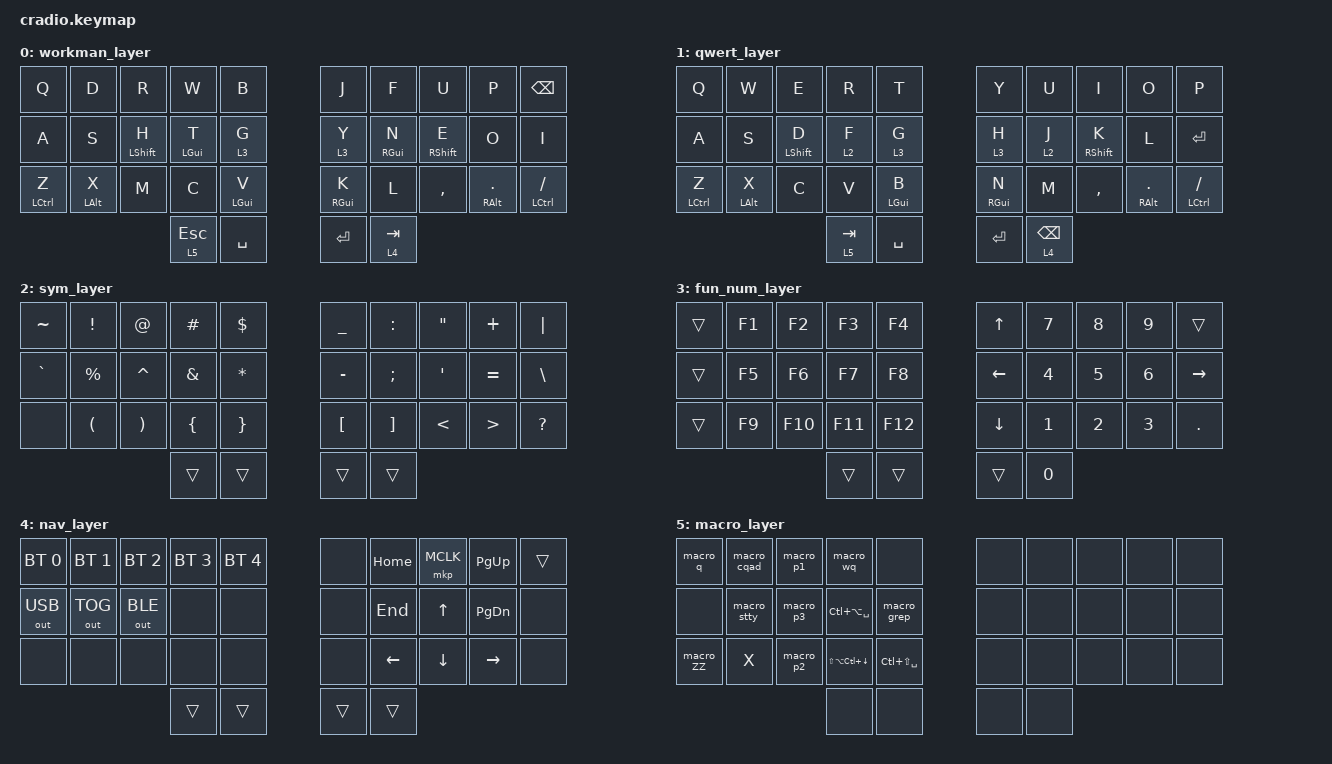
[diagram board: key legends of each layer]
// Copyright (c) 2022 The ZMK Contributors
// SPDX-License-Identifier: MIT
//#include <behaviors/num_word.dtsi>

#include <behaviors.dtsi>
#include <dt-bindings/zmk/bt.h>
#include <dt-bindings/zmk/keys.h>
#include <dt-bindings/zmk/outputs.h>
#include <dt-bindings/zmk/pointing.h>

/ {
    behaviors {
        hml: home_row_mod_left {
            compatible = "zmk,behavior-hold-tap";
            #binding-cells = <2>;
            flavor = "balanced";
            require-prior-idle-ms = <125>;
            tapping-term-ms = <190>;
            quick-tap-ms = <150>;
            bindings = <&kp>, <&kp>;

            hold-trigger-key-positions = <5 6 7 8 9 15 16 17 18 19 25 26 27 28 29 32 33>;
        };

        hmr: home_row_mod_right {
            compatible = "zmk,behavior-hold-tap";
            #binding-cells = <2>;
            flavor = "balanced";
            require-prior-idle-ms = <125>;
            tapping-term-ms = <190>;
            quick-tap-ms = <150>;
            bindings = <&kp>, <&kp>;

            hold-trigger-key-positions = <0 1 2 3 4 10 11 12 13 14 20 21 22 23 24 30 31>;
        };

        caps_word: caps_word {
            compatible = "zmk,behavior-caps-word";
            #binding-cells = <0>;
            continue-list = <UNDERSCORE BACKSPACE DELETE>;
        };

        //        num_word: num_word {
        //            compatible = "zmk,behavior-auto-layer";
        //            #binding-cells = <1>;
        //            continue-list = <BACKSPACE DELETE DOT COMMA PLUS MINUS STAR FSLH EQUAL>;
        //            ignore-numbers;
        //        };
        //        nav_word: nav_word {
        //            compatible = "zmk,behavior-auto-layer";
        //            #binding-cells = <1>;
        //            continue-list = <LEFT DOWN UP RIGHT PG_DN PG_UP R X D U>;
        //            ignore-modifiers;
        //        };
    };

    conditional_layers { compatible = "zmk,conditional-layers"; };

    combos {
        compatible = "zmk,combos";

        combo_under {
            bindings = <&kp UNDER>;
            key-positions = <5 6>;
            timeout-ms = <50>;
        };

        combo_minus {
            bindings = <&kp MINUS>;
            key-positions = <15 16>;
            timeout-ms = <50>;
        };

        combo_plus {
            bindings = <&kp COLON>;
            key-positions = <6 7>;
            timeout-ms = <50>;
        };

        combo_equal {
            bindings = <&kp SEMI>;
            key-positions = <16 17>;
            timeout-ms = <50>;
        };

        combo_colon {
            bindings = <&kp DQT>;
            key-positions = <7 8>;
            timeout-ms = <50>;
        };

        combo_semi {
            bindings = <&kp SQT>;
            key-positions = <17 18>;
            timeout-ms = <50>;
        };

        combo_dqt {
            bindings = <&kp PLUS>;
            key-positions = <8 9>;
            timeout-ms = <50>;
        };

        combo_sqt {
            bindings = <&kp EQUAL>;
            key-positions = <18 19>;
            timeout-ms = <50>;
        };

        combo_lbkt {
            bindings = <&kp LEFT_BRACKET>;
            key-positions = <25 26>;
            timeout-ms = <50>;
        };

        combo_rbkt {
            bindings = <&kp RBKT>;
            key-positions = <26 27>;
            timeout-ms = <50>;
        };

        combo_pipe {
            bindings = <&kp PIPE>;
            key-positions = <19 9>;
            timeout-ms = <50>;
        };

        combo_qmark {
            bindings = <&kp BSLH>;
            key-positions = <19 29>;
            timeout-ms = <50>;
        };

        combo_excl {
            bindings = <&kp EXCL>;
            key-positions = <1 0>;
            timeout-ms = <50>;
        };

        combo_percent {
            bindings = <&kp PERCENT>;
            key-positions = <11 10>;
            timeout-ms = <50>;
        };

        combo_at {
            bindings = <&kp AT>;
            key-positions = <2 1>;
            timeout-ms = <50>;
        };

        combo_caret {
            bindings = <&kp CARET>;
            key-positions = <12 11>;
            timeout-ms = <50>;
        };

        combo_hash {
            bindings = <&kp HASH>;
            key-positions = <3 2>;
            timeout-ms = <50>;
        };

        combo_amps {
            bindings = <&kp AMPS>;
            key-positions = <13 12>;
            timeout-ms = <50>;
        };

        combo_dllr {
            bindings = <&kp DLLR>;
            key-positions = <4 3>;
            timeout-ms = <50>;
        };

        combo_astrk {
            bindings = <&kp ASTRK>;
            key-positions = <14 13>;
            timeout-ms = <50>;
        };

        combo_lbrc {
            bindings = <&kp LBRC>;
            key-positions = <22 23>;
            timeout-ms = <50>;
        };

        combo_rbrc {
            bindings = <&kp RBRC>;
            key-positions = <23 24>;
            timeout-ms = <50>;
        };

        combo_lpar {
            bindings = <&kp LPAR>;
            key-positions = <21 20>;
            timeout-ms = <50>;
        };

        combo_rpar {
            bindings = <&kp RPAR>;
            key-positions = <21 22>;
            timeout-ms = <50>;
        };

        combo_tilde {
            bindings = <&kp TILDE>;
            key-positions = <0 10>;
            timeout-ms = <50>;
        };

        combo_grave {
            bindings = <&kp GRAVE>;
            key-positions = <10 20>;
            timeout-ms = <50>;
        };

        combo_n1 {
            bindings = <&kp N1>;
            key-positions = <16 26>;
            timeout-ms = <50>;
        };

        combo_n2 {
            bindings = <&kp N2>;
            key-positions = <27 17>;
            timeout-ms = <50>;
        };

        combo_n3 {
            bindings = <&kp N3>;
            key-positions = <28 18>;
            timeout-ms = <50>;
        };

        combo_n4 {
            bindings = <&kp N4>;
            key-positions = <6 16>;
            timeout-ms = <50>;
        };

        combo_n5 {
            bindings = <&kp N5>;
            key-positions = <7 17>;
            timeout-ms = <50>;
        };

        combo_n6 {
            bindings = <&kp N6>;
            key-positions = <8 18>;
            timeout-ms = <50>;
        };

        combo_n7 {
            bindings = <&kp N7>;
            key-positions = <6 26>;
            timeout-ms = <50>;
        };

        combo_n8 {
            bindings = <&kp N8>;
            key-positions = <7 27>;
            timeout-ms = <50>;
        };

        combo_n9 {
            bindings = <&kp N9>;
            key-positions = <8 28>;
            timeout-ms = <50>;
        };

        combo_n0 {
            bindings = <&kp N0>;
            key-positions = <33 25>;
            timeout-ms = <50>;
        };

        combo_del {
            bindings = <&kp DEL>;
            key-positions = <29 28>;
            timeout-ms = <50>;
        };

        combo_caps_word {
            bindings = <&caps_word>;
            key-positions = <0 20>;
            timeout-ms = <50>;
        };

        //        combo_nav_word_layer3 {
        //            bindings = <&nav_word 3>;
        //            key-positions = <25 5>;
        //            timeout-ms = <50>;
        //        };
        //        combo_num_word_layer2 {
        //            bindings = <&num_word 2>;
        //            key-positions = <16 18>;
        //            timeout-ms = <50>;
        //        };

        combo_esc {
            bindings = <&kp ESC>;
            key-positions = <0 11>;
        };

        combo_tab {
            bindings = <&kp TAB>;
            key-positions = <10 13>;
        };

        combo_enter {
            bindings = <&kp ENTER>;
            key-positions = <16 19>;
        };

        combo_tog3 {
            bindings = <&tog 3>;
            key-positions = <6 15>;
        };

        combo_tog4 {
            bindings = <&tog 4>;
            key-positions = <5 25>;
        };

        combo_tog1 {
            bindings = <&tog 1>;
            key-positions = <15 17>;
        };

        combo_ctrl_c {
            bindings = <&kp RC(C)>;
            key-positions = <20 23>;
            timeout-ms = <50>;
        };

        combo_ctrl_v {
            bindings = <&kp RC(V)>;
            key-positions = <20 24>;
            timeout-ms = <50>;
        };

        combo_ctrl_b {
            bindings = <&kp RC(B)>;
            key-positions = <20 4>;
            timeout-ms = <50>;
        };

        combo_ctrl_z {
            bindings = <&kp RC(Z)>;
            key-positions = <20 30>;
            timeout-ms = <50>;
        };

        combo_ctrl_r {
            bindings = <&kp RC(R)>;
            key-positions = <20 2>;
            timeout-ms = <50>;
        };

        combo_ctrl_w {
            bindings = <&kp RC(W)>;
            key-positions = <20 3>;
            timeout-ms = <50>;
        };

        combo_ctrl_d {
            bindings = <&kp RC(D)>;
            key-positions = <20 1>;
            timeout-ms = <50>;
        };
    };

    macros {
        macro_ckcu: macro_ckcu {
            compatible = "zmk,behavior-macro";
            #binding-cells = <0>;
            bindings = <&kp LC(K) &kp LC(U)>, <&macro_press>;

            label = "MACRO_CKCU";
        };

        macro_ckcc: macro_ckcc {
            compatible = "zmk,behavior-macro";
            #binding-cells = <0>;
            bindings = <&kp LC(K) &kp RC(C)>;
            label = "MACRO_CKCC";
        };

        macro_grep: new_macro {
            compatible = "zmk,behavior-macro";
            #binding-cells = <0>;
            bindings = <&none &kp PIPE &kp G &kp R &kp E &kp P &kp SPACE &kp MINUS &kp I &kp SPACE>;
            label = "NEW_MACRO";
        };

        macro_wq: macro_wq {
            compatible = "zmk,behavior-macro";
            #binding-cells = <0>;
            bindings = <&kp ESC &kp COLON &kp W &kp Q &kp EXCL>;
            label = "MACRO_WQ";
        };

        macro_q: macro_q {
            compatible = "zmk,behavior-macro";
            #binding-cells = <0>;
            bindings = <&kp ESC &kp COLON &kp Q &kp EXCL>;
            label = "MACRO_Q";
        };

        macro_stty: macro_Backspace {
            compatible = "zmk,behavior-macro";
            #binding-cells = <0>;
            bindings = <&kp S &kp T &kp T &kp Y &kp SPACE &kp E &kp R &kp A &kp S &kp E &kp SPACE &kp LC(V) &kp BACKSPACE>;
            label = "MACRO_BACKSPACE";
        };

        macro_p1: macro_p1 {
            compatible = "zmk,behavior-macro";
            #binding-cells = <0>;
            bindings = <&kp C &kp O &kp R &kp E>;
            label = "MACRO_P1";
        };

        macro_p3: macro_p2 {
            compatible = "zmk,behavior-macro";
            #binding-cells = <0>;
            bindings = <&kp N2 &kp N0 &kp N2 &kp N4 &kp AT>;
            label = "MACRO_P2";
        };

        macro_p2: macro_p3 {
            compatible = "zmk,behavior-macro";
            #binding-cells = <0>;
            bindings = <&kp J &kp N0 &kp V &kp Z>;
            label = "MACRO_P3";
        };

        macro_cqad: macro_cqad {
            compatible = "zmk,behavior-macro";
            #binding-cells = <0>;
            bindings = <&kp RC(Q) &kp RA(D)>;
            label = "MACRO_CQAD";
        };

        macro_ZZ: macro_ZZ {
            compatible = "zmk,behavior-macro";
            #binding-cells = <0>;
            bindings = <&kp RS(Z) &kp RS(Z)>;
            label = "MACRO_ZZ";
        };
    };

    keymap {
        compatible = "zmk,keymap";

        workman_layer {
            bindings = <
&kp Q         &kp D        &kp R         &kp W            &kp B              &kp J             &kp F             &kp U         &kp P             &kp BACKSPACE
&kp A         &kp S        &hml LSHFT H  &hml LEFT_GUI T  &lt 3 G            &lt 3 Y           &hmr RIGHT_GUI N  &hmr RSHFT E  &kp O             &kp I
&hml LCTRL Z  &hml LALT X  &kp M         &kp C            &hml LEFT_GUI V    &hmr RIGHT_GUI K  &kp L             &kp COMMA     &hmr RALT PERIOD  &hmr LCTRL SLASH
                                         &lt 5 ESC        &kp SPACE          &kp ENTER         &lt 4 TAB
            >;
        };

        qwert_layer {
            bindings = <
&kp Q         &kp W        &kp E         &kp R      &kp T              &kp Y             &kp U            &kp I         &kp O             &kp P
&kp A         &kp S        &hml LSHFT D  &lt 2 F    &lt 3 G            &lt 3 H           &lt 2 J          &hmr RSHFT K  &kp L             &kp ENTER
&hml LCTRL Z  &hml LALT X  &kp C         &kp V      &hml LEFT_GUI B    &hmr RIGHT_GUI N  &kp M            &kp COMMA     &hmr RALT PERIOD  &hmr LCTRL SLASH
                                         &lt 5 TAB  &kp SPACE          &kp ENTER         &lt 4 BACKSPACE
            >;
        };

        sym_layer {
            bindings = <
&kp TILDE  &kp EXCL   &kp AT     &kp POUND  &kp DLLR    &kp UNDER  &kp COLON  &kp DQT  &kp PLUS   &kp PIPE
&kp GRAVE  &kp PRCNT  &kp CARET  &kp AMPS   &kp STAR    &kp MINUS  &kp SEMI   &kp SQT  &kp EQUAL  &kp BSLH
&none      &kp LPAR   &kp RPAR   &kp LBRC   &kp RBRC    &kp LBKT   &kp RBKT   &kp LT   &kp GT     &kp QMARK
                                 &trans     &trans      &trans     &trans
            >;
        };

        fun_num_layer {
            bindings = <
&trans  &kp F1  &kp F2   &kp F3   &kp F4     &kp UP    &kp N7  &kp N8  &kp N9  &trans
&trans  &kp F5  &kp F6   &kp F7   &kp F8     &kp LEFT  &kp N4  &kp N5  &kp N6  &kp RIGHT
&trans  &kp F9  &kp F10  &kp F11  &kp F12    &kp DOWN  &kp N1  &kp N2  &kp N3  &kp DOT
                         &trans   &trans     &trans    &kp N0
            >;
        };

        nav_layer {
            bindings = <
&bt BT_SEL 0  &bt BT_SEL 1  &bt BT_SEL 2  &bt BT_SEL 3  &bt BT_SEL 4    &none   &kp HOME  &mkp MCLK     &kp PAGE_UP    &trans
&out OUT_USB  &out OUT_TOG  &out OUT_BLE  &none         &none           &none   &kp END   &kp UP_ARROW  &kp PAGE_DOWN  &none
&none         &none         &none         &none         &none           &none   &kp LEFT  &kp DOWN      &kp RIGHT      &none
                                          &trans        &trans          &trans  &trans
            >;
        };

        macro_layer {
            bindings = <
&macro_q   &macro_cqad  &macro_p1  &macro_wq             &none                &none  &none  &none  &none  &none
&none      &macro_stty  &macro_p3  &kp LC(LA(SPACE))     &macro_grep          &none  &none  &none  &none  &none
&macro_ZZ  &kp X        &macro_p2  &kp LS(LA(LC(DOWN)))  &kp LC(LS(SPACE))    &none  &none  &none  &none  &none
                                   &none                 &none                &none  &none
            >;
        };
    };
};
